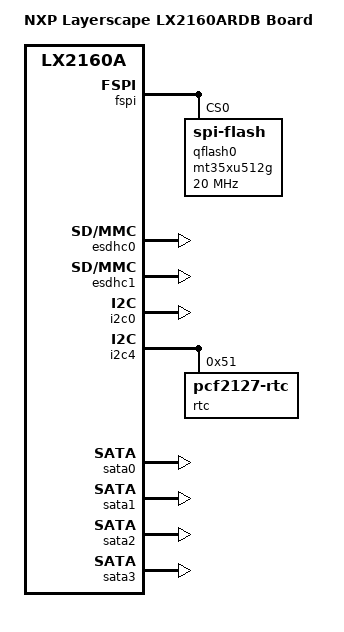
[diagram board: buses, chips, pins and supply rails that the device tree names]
// SPDX-License-Identifier: GPL-2.0+ OR X11
/*
 * NXP LX2160ARDB device tree source
 *
 * Author:	Priyanka Jain <priyanka.jain@nxp.com>
 *		Sriram Dash <sriram.dash@nxp.com>
 *
 * Copyright 2018 NXP
 *
 */

/dts-v1/;

#include "fsl-lx2160a.dtsi"

/ {
	model = "NXP Layerscape LX2160ARDB Board";
	compatible = "fsl,lx2160ardb", "fsl,lx2160a";

	aliases {
		spi0 = &fspi;
	};
};

&fspi {
	bus-num = <0>;
	status = "okay";
	fspi-has-second-chip;

	qflash0: mt35xu512g@0 {
		#address-cells = <1>;
		#size-cells = <1>;
		compatible = "spi-flash";
		spi-max-frequency = <20000000>;
		reg = <0>;
		/* The following setting enables 1-1-8 (CMD-ADDR-DATA) mode */
		fspi-rx-bus-width = <8>; /* 8 FSPI Rx lines */
		fspi-tx-bus-width = <1>; /* 1 FSPI Tx line */
	};

	/*
	 * MCR2[SAMEDEVICEEN] bit is enabled in FlexSPI controller for
	 * LX2160ARDB and LX2160AQDS board. Both these has same type of flash
	 * slave devices connected on both A0 and A1.
	 * No need to provide node info for second flash device.
	 */
};

&esdhc0 {
	status = "okay";
};

&esdhc1 {
	status = "okay";
};

&i2c0 {
	status = "okay";
	u-boot,dm-pre-reloc;
};

&i2c4 {
	status = "okay";

	rtc@51 {
		compatible = "pcf2127-rtc";
		reg = <0x51>;
	};
};

&sata0 {
	status = "okay";
};

&sata1 {
	status = "okay";
};

&sata2 {
	status = "okay";
};

&sata3 {
	status = "okay";
};
